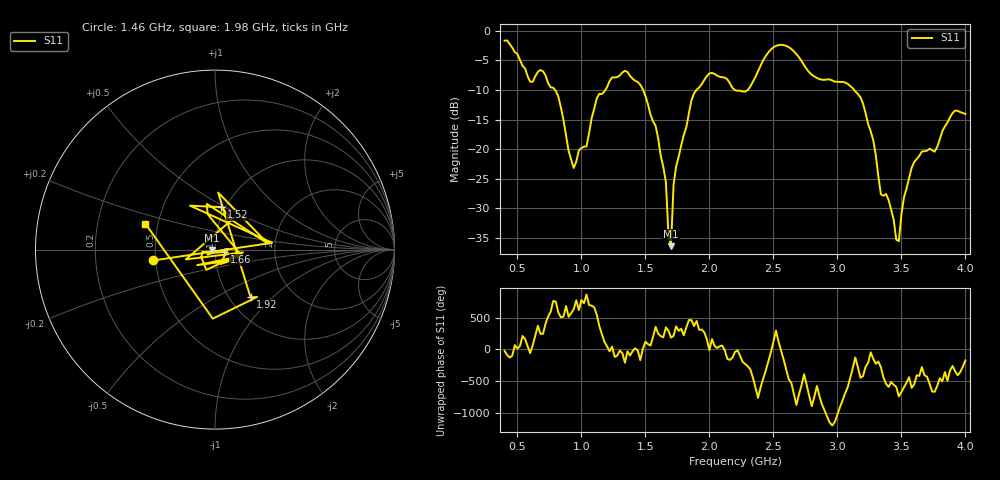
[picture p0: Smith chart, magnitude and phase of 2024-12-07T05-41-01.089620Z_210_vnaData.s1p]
!Created with skrf (http://scikit-rf.org).
# Hz S RI R 50.0
!freq ReS11 ImS11
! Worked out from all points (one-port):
!   181 points, 400 MHz to 4 GHz, reference 50 ohm
!   lowest |S11| = -36.4 dB at 1.7 GHz (marker M1), VSWR 1.03, Z = 48.5 - j0.141 ohm
!   |S11| at or under -10 dB: 794.3 MHz to 1.187 GHz (392.6 MHz wide, 39.6 % of centre); 1.482 GHz to 1.898 GHz (416.1 MHz wide, 24.6 % of centre); 3.131 GHz to end of sweep (the widest 3 of 4)
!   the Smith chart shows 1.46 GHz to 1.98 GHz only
!   S11 on the Smith chart (normalised r, x): 1.46 GHz: 0.48, -0.07; 1.52 GHz: 0.95, +0.48; 1.66 GHz: 1.11, -0.03; 1.92 GHz: 1.25, -0.75; 1.98 GHz: 0.43, +0.15
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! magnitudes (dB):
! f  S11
! 400 MHz  -1.7
! 600 MHz  -8.6
! 700 MHz  -6.8
! 860 MHz  -15.1
! 940 MHz  -23.2
! 1.04 GHz  -19.6
! 1.12 GHz  -11.4
! 1.3 GHz  -7.5
! 1.46 GHz  -9.1
! 1.52 GHz  -12.4
! 1.66 GHz  -25.6
! 1.68 GHz  -34.5
! 1.7 GHz  -36.4
! 1.72 GHz  -26.0
! 1.76 GHz  -21.3
! 1.92 GHz  -9.6
! 1.98 GHz  -7.7
! 2.2 GHz  -10.0
! 2.5 GHz  -2.8
! 2.66 GHz  -3.5
! 3.1 GHz  -9.3
! 3.2 GHz  -12.3
! 3.34 GHz  -27.7
! 3.4 GHz  -28.6
! 3.46 GHz  -35.3
! 3.56 GHz  -24.9
! 3.9 GHz  -13.9
! 4 GHz  -14.1
